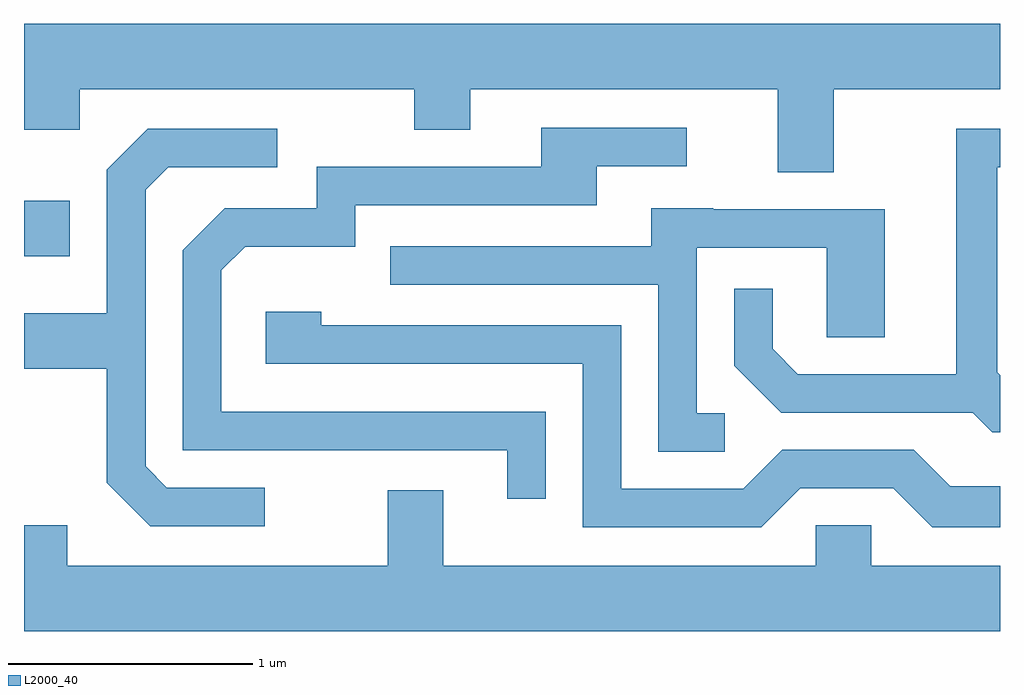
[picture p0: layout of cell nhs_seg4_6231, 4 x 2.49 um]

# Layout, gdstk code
import gdstk
lib = gdstk.Library(unit=1e-6, precision=1e-09)
def R(c, l, rs):  # rectangles x0, y0, x1, y1
    for r in rs: c.add(gdstk.rectangle(r[:2], r[2:], *l))
def P(c, l, *ps):  # polygons
    for p in ps: c.add(gdstk.Polygon(p, *l))
L2000_40 = (2000, 40)

nhs_seg4_6231 = lib.new_cell('nhs_seg4_6231')
R(nhs_seg4_6231, L2000_40, [(367.611,1342.891,367.799,1343.119)])
P(nhs_seg4_6231, L2000_40, [(370.929,1343.576),(371.611,1343.576),(371.611,1343.844),(367.611,1343.844),(367.611,1343.411),(367.839,1343.411),(367.839,1343.576),(369.211,1343.576),(369.211,1343.411),(369.439,1343.411),(369.439,1343.576),(370.701,1343.576),(370.701,1343.236),(370.929,1343.236)],
  [(369.749,1342.254),(368.419,1342.254),(368.419,1342.834),(368.517,1342.931),(368.969,1342.931),(368.969,1343.101),(369.959,1343.101),(369.959,1343.261),(370.328,1343.261),(370.328,1343.419),(369.731,1343.419),(369.731,1343.259),(368.811,1343.259),(368.811,1343.089),(368.434,1343.089),(368.261,1342.917),(368.261,1342.096),(369.591,1342.096),(369.591,1341.898),(369.749,1341.898)],
  [(371.611,1342.405),(371.599,1342.417),(371.599,1343.256),(371.611,1343.256),(371.611,1343.414),(371.431,1343.414),(371.431,1342.409),(370.782,1342.409),(370.679,1342.512),(370.679,1342.758),(370.521,1342.758),(370.521,1342.444),(370.714,1342.251),(371.499,1342.251),(371.579,1342.171),(371.611,1342.171)],
  [(368.598,1341.944),(368.197,1341.944),(368.109,1342.032),(368.109,1343.164),(368.202,1343.256),(368.648,1343.256),(368.648,1343.414),(368.119,1343.414),(367.951,1343.247),(367.951,1342.659),(367.611,1342.659),(367.611,1342.431),(367.951,1342.431),(367.951,1341.964),(368.129,1341.786),(368.598,1341.786)],
  [(370.483,1342.249),(370.369,1342.249),(370.369,1342.926),(370.901,1342.926),(370.901,1342.561),(371.139,1342.561),(371.139,1343.084),(370.435,1343.084),(370.435,1343.089),(370.181,1343.089),(370.181,1342.934),(369.113,1342.934),(369.113,1342.776),(370.211,1342.776),(370.211,1342.091),(370.483,1342.091)],
  [(370.792,1341.941),(371.174,1341.941),(371.334,1341.781),(371.611,1341.781),(371.611,1341.949),(371.407,1341.949),(371.257,1342.099),(370.719,1342.099),(370.559,1341.939),(370.059,1341.939),(370.059,1342.609),(368.829,1342.609),(368.829,1342.664),(368.601,1342.664),(368.601,1342.451),(369.901,1342.451),(369.901,1341.781),(370.632,1341.781)],
  [(371.611,1341.624),(371.084,1341.624),(371.084,1341.789),(370.856,1341.789),(370.856,1341.624),(369.329,1341.624),(369.329,1341.934),(369.101,1341.934),(369.101,1341.624),(367.789,1341.624),(367.789,1341.789),(367.611,1341.789),(367.611,1341.356),(371.611,1341.356)])

lib.write_gds('nhs_seg4_6231.gds')
